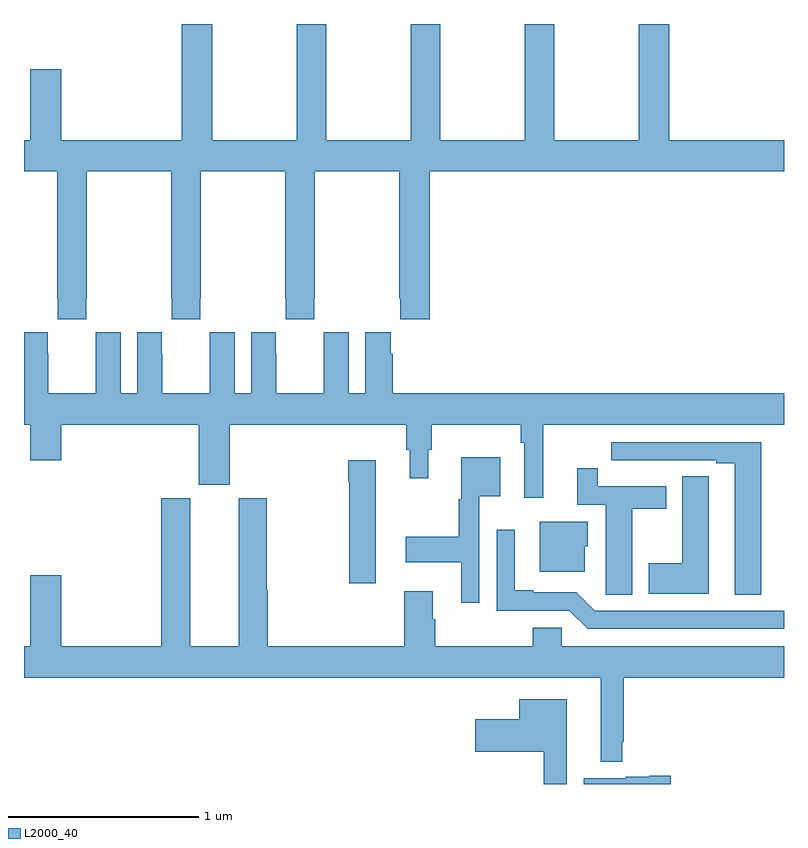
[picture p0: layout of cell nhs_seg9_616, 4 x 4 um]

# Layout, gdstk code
import gdstk
lib = gdstk.Library(unit=1e-6, precision=1e-09)
def P(c, l, *ps):  # polygons
    for p in ps: c.add(gdstk.Polygon(p, *l))
L2000_40 = (2000, 40)

nhs_seg9_616 = lib.new_cell('nhs_seg9_616')
P(nhs_seg9_616, L2000_40, [(141.327,1225.057),(141.33,1225.057),(141.33,1225.724),(141.775,1225.724),(141.775,1225.057),(141.777,1225.057),(141.777,1224.945),(141.927,1224.945),(141.927,1225.057),(141.93,1225.057),(141.93,1225.724),(142.375,1225.724),(142.375,1225.057),(142.377,1225.057),(142.377,1224.945),(142.527,1224.945),(142.527,1225.057),(142.53,1225.057),(142.53,1225.724),(142.975,1225.724),(142.975,1225.057),(142.981,1225.057),(142.981,1224.945),(143.135,1224.945),(143.135,1225.724),(145,1225.724),(145,1225.888),(144.395,1225.888),(144.395,1226.5),(144.235,1226.5),(144.235,1225.888),(143.79,1225.888),(143.79,1226.5),(143.635,1226.5),(143.635,1225.888),(143.19,1225.888),(143.19,1226.5),(143.035,1226.5),(143.035,1225.888),(142.59,1225.888),(142.59,1226.5),(142.435,1226.5),(142.435,1225.888),(141.99,1225.888),(141.99,1226.5),(141.83,1226.5),(141.83,1225.888),(141.196,1225.888),(141.196,1226.263),(141.032,1226.263),(141.032,1225.888),(141,1225.888),(141,1225.724),(141.175,1225.724),(141.175,1225.057),(141.177,1225.057),(141.177,1224.945),(141.327,1224.945)],
  [(143.732,1224.392),(145,1224.392),(145,1224.556),(142.94,1224.556),(142.94,1224.764),(142.93,1224.764),(142.93,1224.877),(142.796,1224.877),(142.796,1224.556),(142.708,1224.556),(142.708,1224.877),(142.578,1224.877),(142.578,1224.764),(142.577,1224.764),(142.577,1224.556),(142.327,1224.556),(142.327,1224.764),(142.326,1224.764),(142.326,1224.877),(142.196,1224.877),(142.196,1224.556),(142.108,1224.556),(142.108,1224.877),(141.978,1224.877),(141.978,1224.764),(141.977,1224.764),(141.977,1224.556),(141.727,1224.556),(141.727,1224.764),(141.726,1224.764),(141.726,1224.877),(141.596,1224.877),(141.596,1224.556),(141.508,1224.556),(141.508,1224.877),(141.378,1224.877),(141.378,1224.764),(141.377,1224.764),(141.377,1224.556),(141.127,1224.556),(141.127,1224.764),(141.126,1224.764),(141.126,1224.877),(141,1224.877),(141,1224.392),(141.032,1224.392),(141.032,1224.204),(141.196,1224.204),(141.196,1224.392),(141.92,1224.392),(141.92,1224.075),(142.084,1224.075),(142.084,1224.392),(143.011,1224.392),(143.011,1224.258),(143.03,1224.258),(143.03,1224.108),(143.128,1224.108),(143.128,1224.258),(143.147,1224.258),(143.147,1224.392),(143.614,1224.392),(143.614,1224.296),(143.634,1224.296),(143.634,1224.006),(143.732,1224.006)],
  [(144.88,1224.3),(144.09,1224.3),(144.09,1224.204),(144.202,1224.204),(144.202,1224.203),(144.368,1224.203),(144.368,1224.204),(144.644,1224.204),(144.644,1224.189),(144.74,1224.189),(144.74,1223.497),(144.88,1223.497)],
  [(143.397,1224.014),(143.506,1224.014),(143.506,1224.22),(143.3,1224.22),(143.3,1224),(143.289,1224),(143.289,1223.801),(143.01,1223.801),(143.01,1223.666),(143.3,1223.666),(143.3,1223.454),(143.397,1223.454)],
  [(142.852,1224.205),(142.706,1224.205),(142.706,1224.092),(142.711,1224.092),(142.711,1223.556),(142.852,1223.556)],
  [(144.202,1223.95),(144.379,1223.95),(144.379,1224.066),(144.02,1224.066),(144.02,1224.163),(143.912,1224.163),(143.912,1223.97),(144.062,1223.97),(144.062,1223.608),(144.063,1223.608),(144.063,1223.497),(144.202,1223.497)],
  [(144.604,1224.011),(144.603,1224.011),(144.603,1224.119),(144.464,1224.119),(144.464,1223.661),(144.287,1223.661),(144.287,1223.501),(144.604,1223.501)],
  [(144.035,1222.616),(144.149,1222.616),(144.149,1222.723),(144.157,1222.723),(144.157,1223.06),(145,1223.06),(145,1223.224),(143.829,1223.224),(143.829,1223.322),(143.678,1223.322),(143.678,1223.224),(143.165,1223.224),(143.165,1223.366),(143.152,1223.366),(143.152,1223.515),(143,1223.515),(143,1223.224),(142.283,1223.224),(142.283,1223.52),(142.278,1223.52),(142.278,1224.003),(142.13,1224.003),(142.13,1223.224),(141.874,1223.224),(141.874,1224.003),(141.722,1224.003),(141.722,1223.224),(141.196,1223.224),(141.196,1223.599),(141.032,1223.599),(141.032,1223.224),(141,1223.224),(141,1223.06),(144.035,1223.06)],
  [(143.95,1223.751),(143.968,1223.751),(143.968,1223.881),(143.714,1223.881),(143.714,1223.618),(143.95,1223.618)],
  [(145,1223.412),(144.003,1223.412),(143.907,1223.508),(143.68,1223.508),(143.68,1223.521),(143.584,1223.521),(143.584,1223.839),(143.487,1223.839),(143.487,1223.412),(143.871,1223.412),(143.967,1223.316),(145,1223.316)],
  [(143.857,1222.945),(143.606,1222.945),(143.606,1222.84),(143.376,1222.84),(143.376,1222.67),(143.736,1222.67),(143.736,1222.5),(143.857,1222.5)],
  [(144.403,1222.544),(144.29,1222.544),(144.29,1222.537),(144.168,1222.537),(144.168,1222.531),(143.945,1222.531),(143.945,1222.5),(144.403,1222.5)])

lib.write_gds('nhs_seg9_616.gds')
